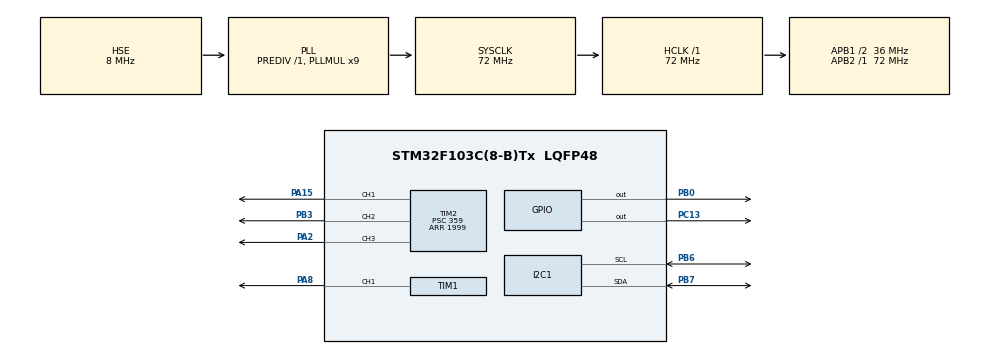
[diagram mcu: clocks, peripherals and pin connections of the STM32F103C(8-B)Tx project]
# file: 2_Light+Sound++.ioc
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FREERTOS.Tasks01=defaultTask,24,128,StartDefaultTask,Default,NULL,Dynamic,NULL,NULL
Mcu.Family=STM32F1
Mcu.Name=STM32F103C(8-B)Tx
Mcu.Package=LQFP48
NVIC.PriorityGroup=NVIC_PRIORITYGROUP_4
NVIC.TIM4_IRQn=true\:15\:0\:false\:false\:true\:false\:false\:true\:true
NVIC.TimeBase=TIM4_IRQn
NVIC.TimeBaseIP=TIM4
PA13.Mode=Serial_Wire
PA13.Signal=SYS_JTMS-SWDIO
PA14.Mode=Serial_Wire
PA14.Signal=SYS_JTCK-SWCLK
PA15.Signal=S_TIM2_CH1_ETR
PA2.Signal=S_TIM2_CH3
PA8.Signal=S_TIM1_CH1
PB0.Signal=GPIO_Output
PB3.Signal=S_TIM2_CH2
PB6.Mode=I2C
PB6.Signal=I2C1_SCL
PB7.Mode=I2C
PB7.Signal=I2C1_SDA
PC13-TAMPER-RTC.Signal=GPIO_Output
PC14-OSC32_IN.Mode=LSE-External-Oscillator
PC14-OSC32_IN.Signal=RCC_OSC32_IN
PC15-OSC32_OUT.Mode=LSE-External-Oscillator
PC15-OSC32_OUT.Signal=RCC_OSC32_OUT
PD0-OSC_IN.Mode=HSE-External-Oscillator
PD0-OSC_IN.Signal=RCC_OSC_IN
PD1-OSC_OUT.Mode=HSE-External-Oscillator
PD1-OSC_OUT.Signal=RCC_OSC_OUT
ProjectManager.HeapSize=0x200
ProjectManager.StackSize=0x400
ProjectManager.TargetToolchain=CMake
RCC.AHBFreq_Value=72000000
RCC.APB1CLKDivider=RCC_HCLK_DIV2
RCC.APB1Freq_Value=36000000
RCC.APB1TimFreq_Value=72000000
RCC.APB2Freq_Value=72000000
RCC.APB2TimFreq_Value=72000000
RCC.HCLKFreq_Value=72000000
RCC.PLLMUL=RCC_PLL_MUL9
RCC.PLLSourceVirtual=RCC_PLLSOURCE_HSE
RCC.SYSCLKFreq_VALUE=72000000
RCC.SYSCLKSource=RCC_SYSCLKSOURCE_PLLCLK
RCC.USBFreq_Value=72000000
SH.S_TIM1_CH1.0=TIM1_CH1,PWM Generation1 CH1
SH.S_TIM2_CH1_ETR.0=TIM2_CH1,PWM Generation1 CH1
SH.S_TIM2_CH2.0=TIM2_CH2,PWM Generation2 CH2
SH.S_TIM2_CH3.0=TIM2_CH3,PWM Generation3 CH3
TIM1.Channel-PWM\ Generation1\ CH1=TIM_CHANNEL_1
TIM1.Period=1000
TIM1.Prescaler=72-1
TIM2.Channel-PWM\ Generation1\ CH1=TIM_CHANNEL_1
TIM2.Channel-PWM\ Generation2\ CH2=TIM_CHANNEL_2
TIM2.Channel-PWM\ Generation3\ CH3=TIM_CHANNEL_3
TIM2.Period=1999
TIM2.Prescaler=359
VP_FREERTOS_VS_CMSIS_V2.Mode=CMSIS_V2
VP_SYS_VS_tim4.Mode=TIM4
board=custom

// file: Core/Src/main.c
/* USER CODE BEGIN Header */
/**
  ******************************************************************************
  * @file           : main.c
  * @brief          : Main program body
  ******************************************************************************
  * @attention
  *
  * Copyright (c) 2026 STMicroelectronics.
  * All rights reserved.
  *
  * This software is licensed under terms that can be found in the LICENSE file
  * in the root directory of this software component.
  * If no LICENSE file comes with this software, it is provided AS-IS.
  *
  ******************************************************************************
  */
/* USER CODE END Header */
#include "main.h"
#include "cmsis_os.h"
#include "i2c.h"
#include "tim.h"
#include "gpio.h"

void SystemClock_Config(void);
void MX_FREERTOS_Init(void);

int main(void)
{

  /* MCU Configuration--------------------------------------------------------*/

  /* Reset of all peripherals, Initializes the Flash interface and the Systick. */
  HAL_Init();

  /* Configure the system clock */
  SystemClock_Config();

  /* Initialize all configured peripherals */
  MX_GPIO_Init();
  MX_I2C1_Init();
  MX_TIM1_Init();
  MX_TIM2_Init();

  /* Init scheduler */
  osKernelInitialize();  /* Call init function for freertos objects (in cmsis_os2.c) */
  MX_FREERTOS_Init();

  /* Start scheduler */
  osKernelStart();

  /* We should never get here as control is now taken by the scheduler */

  /* Infinite loop */
  while (1)
  {

    /* USER CODE BEGIN 3 */
  HAL_GPIO_TogglePin(GPIOC, GPIO_PIN_13); // 随便找个 LED 引脚翻转
  HAL_Delay(3000);
  }
  /* USER CODE END 3 */
}

void SystemClock_Config(void)
{
  RCC_OscInitTypeDef RCC_OscInitStruct = {0};
  RCC_ClkInitTypeDef RCC_ClkInitStruct = {0};

  /** Initializes the RCC Oscillators according to the specified parameters
  * in the RCC_OscInitTypeDef structure.
  */
  RCC_OscInitStruct.OscillatorType = RCC_OSCILLATORTYPE_HSE;
  RCC_OscInitStruct.HSEState = RCC_HSE_ON;
  RCC_OscInitStruct.HSEPredivValue = RCC_HSE_PREDIV_DIV1;
  RCC_OscInitStruct.HSIState = RCC_HSI_ON;
  RCC_OscInitStruct.PLL.PLLState = RCC_PLL_ON;
  RCC_OscInitStruct.PLL.PLLSource = RCC_PLLSOURCE_HSE;
  RCC_OscInitStruct.PLL.PLLMUL = RCC_PLL_MUL9;
  if (HAL_RCC_OscConfig(&RCC_OscInitStruct) != HAL_OK)
  {
    Error_Handler();
  }

  /** Initializes the CPU, AHB and APB buses clocks
  */
  RCC_ClkInitStruct.ClockType = RCC_CLOCKTYPE_HCLK|RCC_CLOCKTYPE_SYSCLK
                              |RCC_CLOCKTYPE_PCLK1|RCC_CLOCKTYPE_PCLK2;
  RCC_ClkInitStruct.SYSCLKSource = RCC_SYSCLKSOURCE_PLLCLK;
  RCC_ClkInitStruct.AHBCLKDivider = RCC_SYSCLK_DIV1;
  RCC_ClkInitStruct.APB1CLKDivider = RCC_HCLK_DIV2;
  RCC_ClkInitStruct.APB2CLKDivider = RCC_HCLK_DIV1;

  if (HAL_RCC_ClockConfig(&RCC_ClkInitStruct, FLASH_LATENCY_2) != HAL_OK)
  {
    Error_Handler();
  }
}

void HAL_TIM_PeriodElapsedCallback(TIM_HandleTypeDef *htim)
{
  if (htim->Instance == TIM4)
  {
    HAL_IncTick();
  }
}

void Error_Handler(void)
{
  __disable_irq();
  while (1)
  {
  }
}

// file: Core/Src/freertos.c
/* USER CODE BEGIN Header */
/**
  ******************************************************************************
  * File Name          : freertos.c
  * Description        : Code for freertos applications
  ******************************************************************************
  * @attention
  *
  * Copyright (c) 2026 STMicroelectronics.
  * All rights reserved.
  *
  * This software is licensed under terms that can be found in the LICENSE file
  * in the root directory of this software component.
  * If no LICENSE file comes with this software, it is provided AS-IS.
  *
  ******************************************************************************
  */
/* USER CODE END Header */

#include "FreeRTOS.h"
#include "task.h"
#include "main.h"
#include "cmsis_os.h"

/* USER CODE BEGIN Includes */
#include "driver_led.h"
#include "driver_passive_buzzer.h"
#include "driver_lcd.h"
#include "driver_timer.h"
#include "driver_color_led.h"

#include "driver_oled.h"

/* USER CODE END Includes */

/* USER CODE BEGIN Variables */

static TaskHandle_t  SoundStaticTask;
static UBaseType_t reg;

static StackType_t  LightStaticBuffer[128];
static StaticTask_t   LightTaskBuffer;
static TaskHandle_t LightStaticTask;

static StackType_t  ColorStaticBuffer[128];
static StaticTask_t  ColorTaskBuffer;
static TaskHandle_t ColorStaticTask;

/* USER CODE END Variables */
/* Definitions for defaultTask */
osThreadId_t defaultTaskHandle;
const osThreadAttr_t defaultTask_attributes = {
  .name = "defaultTask",
  .stack_size = 128 * 4,
  .priority = (osPriority_t) osPriorityNormal,
};

/* USER CODE BEGIN FunctionPrototypes */
void SoundTask(void *argument)
{

  PassiveBuzzer_Init();
  while(1)
  {
    BadApple_Play();
    vTaskDelay(50);
  }

}

void LedTask(void *argument)
{
  while(1)
  {
    Led_Test();
  }
  vTaskDelay(50);
}

void LightTask(void *argument)
{
  while(1)
  {
    Led_Test();
    vTaskDelay(50);
  }

}

void ColorTask(void *argument)
{
  while(1)
  {
    ColorLED_Test();

  }
    vTaskDelay(50);
}

/* USER CODE END FunctionPrototypes */

void StartDefaultTask(void *argument);

void MX_FREERTOS_Init(void); /* (MISRA C 2004 rule 8.1) */

void MX_FREERTOS_Init(void) {

  /* Create the thread(s) */
  /* creation of defaultTask */
  defaultTaskHandle = osThreadNew(StartDefaultTask, NULL, &defaultTask_attributes);

  /* USER CODE BEGIN RTOS_THREADS */
  /* add threads, ... */

  reg = xTaskCreate(SoundTask, "Sound", 128*4, NULL, osPriorityNormal , &SoundStaticTask);

  reg = xTaskCreate(LedTask, "Led", 128, NULL, osPriorityNormal , NULL);

  LightStaticTask = xTaskCreateStatic(LightTask, "Light", 128, NULL,  osPriorityNormal, LightStaticBuffer, &LightTaskBuffer);

  ColorStaticTask = xTaskCreateStatic(ColorTask, "Color", 128, NULL, osPriorityNormal, ColorStaticBuffer , &ColorTaskBuffer);
  // /* USER CODE END RTOS_THREADS */

}

void StartDefaultTask(void *argument)
{
  /* USER CODE BEGIN StartDefaultTask */
  /* Infinite loop */
  for(;;)
  {
    OLED_Test();
    vTaskDelay(100);
  }
  /* USER CODE END StartDefaultTask */
}
